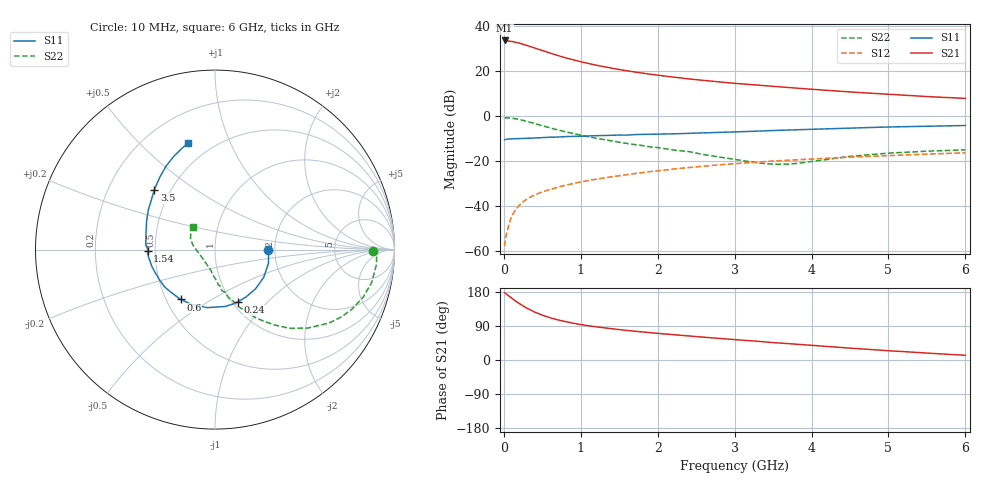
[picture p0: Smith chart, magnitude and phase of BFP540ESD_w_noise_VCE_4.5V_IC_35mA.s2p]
! Infineon Technologies  Discrete & RF Semiconductors
! BFP540ESD
! VCE =  4.5 V,  IC =  35 mA
! Common Emitter S-Parameters:  Nov 2015
# GHz  S  MA  R  50
!  f  S11  S21  S12  S22
! GHz  MAG  ANG  MAG  ANG  MAG  ANG  MAG  ANG
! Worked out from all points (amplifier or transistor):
!   210 points, 10 MHz to 6 GHz, reference 50 ohm
!   highest |S21| = 33.4 dB at 10 MHz (marker M1)
!   |S21| within 3 dB of that: start of sweep to 368.9 MHz
!   unconditionally stable (mu >= 1): start of sweep to 28.41 MHz; 1.758 GHz to end of sweep
!   at 185 MHz: K = 0.40, MSG = 36.3 dB, |S12| = -40.3 dB
!   at 1.52 GHz: K = 0.97, MSG = 23.4 dB, |S12| = -26.4 dB
!   at 6 GHz: K = 1.10, MAG = 10.1 dB, |S12| = -16.3 dB
!   lowest NFmin = 1.52 dB at 900 MHz
!   S11 on the Smith chart (normalised r, x): 10 MHz: 1.84, -0.02; 240 MHz: 1.06, -0.69; 600 MHz: 0.59, -0.37; 1.54 GHz: 0.45, -0.01; 3.5 GHz: 0.41, +0.35; 6 GHz: 0.37, +0.71
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0.01  0.2963 -0.8  46.9 177.2  0.0013 39.7  0.8781 -0.5
0.02  0.2996 -5.2  46.16 176.2  0.0019 54.8  0.9006 -1.2
0.05  0.3076 -14.3  45.8 171.2  0.003 67.0  0.9035 -5.3
0.1  0.3125 -29.6  44.76 163.5  0.0059 67.4  0.892 -11.9
0.15  0.3141 -44.0  43.07 156.0  0.0082 70.2  0.867 -17.8
0.2  0.3155 -56.8  41.01 149.0  0.0104 72.2  0.8329 -23.4
0.24  0.3175 -66.5  39.14 143.9  0.0121 70.1  0.8025 -27.4
0.3  0.3219 -79.6  36.47 136.6  0.0143 67.4  0.7551 -32.8
0.4  0.3263 -97.6  31.9 126.4  0.0177 64.8  0.6766 -40.3
0.5  0.3321 -112.9  28.03 118.1  0.0208 64.3  0.6034 -46.6
0.6  0.3374 -124.6  24.54 111.4  0.0234 63.8  0.5412 -51.2
0.7  0.3401 -134.0  21.81 105.9  0.0264 63.2  0.4894 -55.2
0.8  0.3489 -142.9  19.41 101.1  0.0291 63.3  0.4437 -59.1
1.02  0.3552 -156.8  15.54 92.9  0.035 62.8  0.3672 -65.0
1.22  0.3652 -166.7  13.07 87.0  0.0401 61.8  0.3169 -69.5
1.54  0.376 -178.7  10.38 79.4  0.0484 60.8  0.2554 -76.0
2.02  0.395 167.2  7.889 70.0  0.061 57.6  0.1965 -84.6
3.1  0.4469 143.0  5.108 52.4  0.0898 49.2  0.1021 -111.3
3.5  0.4751 135.4  4.497 45.9  0.1 45.5  0.0852 -136.3
4.1  0.5133 125.8  3.784 37.2  0.1131 39.9  0.1028 -178.0
5.1  0.5721 112.8  2.944 23.3  0.134 30.6  0.1525 153.1
6  0.6128 104.1  2.439 12.3  0.1523 23.5  0.1772 134.0
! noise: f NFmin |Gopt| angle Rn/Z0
0.9  1.52  0.41  -139  0.13
1.8  1.66  0.44  -142  0.13
2.4  1.7  0.44  -132  0.15
3  1.82  0.46  -125  0.19
4  1.87  0.55  -103  0.33
5  2.01  0.6  -88  0.51
6  2.34  0.59  -85  0.77
